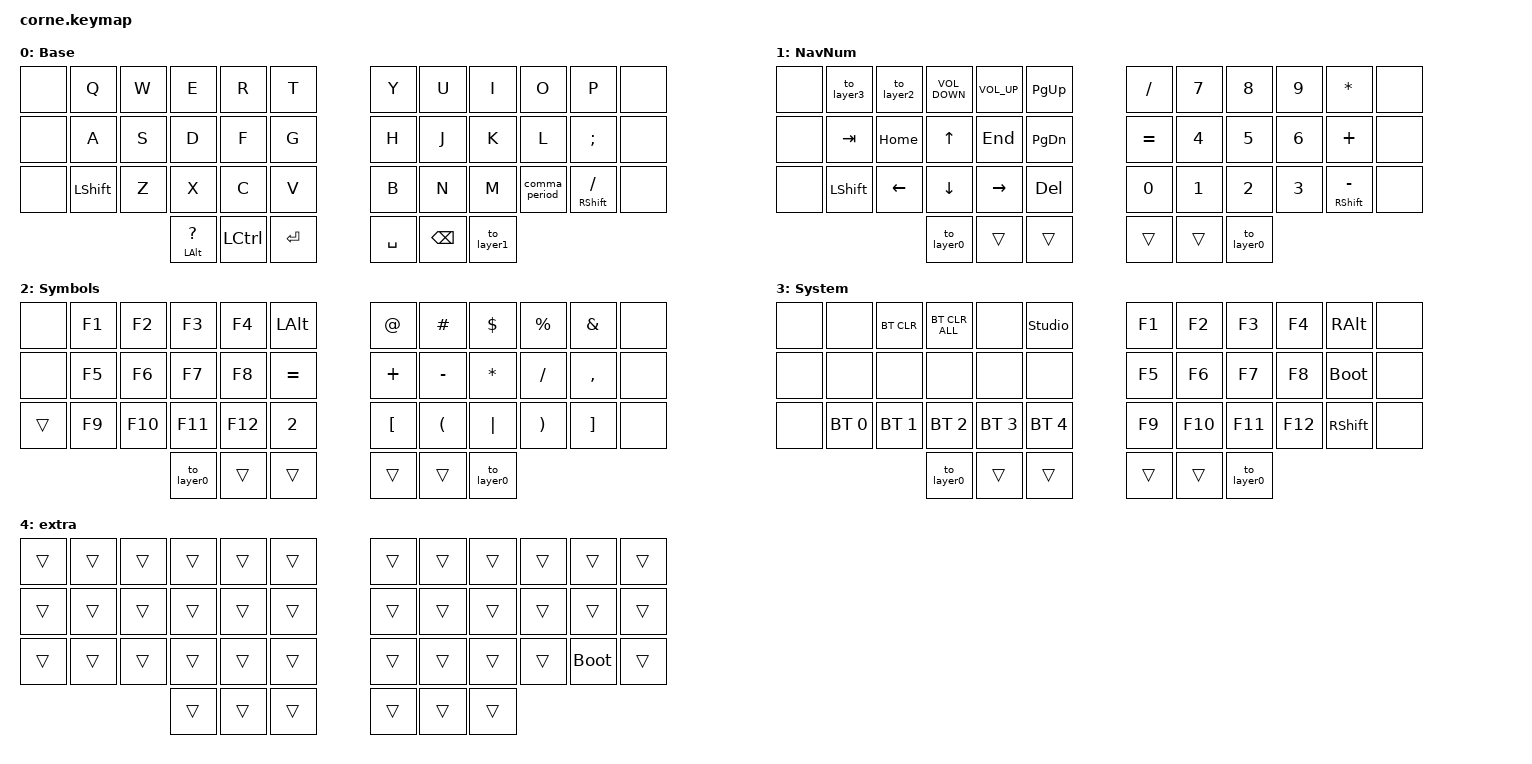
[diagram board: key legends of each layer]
#include <behaviors.dtsi>
#include <dt-bindings/zmk/bt.h>
#include <dt-bindings/zmk/keys.h>

#define DEF 0
#define NAV 1
#define SYM 2
#define ADJ 3
#define EXTRA 4

/ {
    macros {
        browsertab: browsertab {
            compatible = "zmk,behavior-macro";
            #binding-cells = <0>;
            bindings =
                <&macro_press>,
                <&kp LCTRL>,
                <&macro_tap>,
                <&kp TAB>,
                <&macro_release>,
                <&kp LCTRL>;
        };

        // Layer switches for the Windows overlay (overlay/): each one moves to
        // its layer and taps F13+N so the overlay can follow over USB or
        // Bluetooth. The overlay swallows F13-F16 so apps never see them.
        to_layer0: to_layer0 {
            compatible = "zmk,behavior-macro";
            #binding-cells = <0>;
            wait-ms = <0>;
            tap-ms = <10>;
            bindings = <&macro_tap &to 0 &kp F13>;
        };

        to_layer1: to_layer1 {
            compatible = "zmk,behavior-macro";
            #binding-cells = <0>;
            wait-ms = <0>;
            tap-ms = <10>;
            bindings = <&macro_tap &to 1 &kp F14>;
        };

        to_layer2: to_layer2 {
            compatible = "zmk,behavior-macro";
            #binding-cells = <0>;
            wait-ms = <0>;
            tap-ms = <10>;
            bindings = <&macro_tap &to 2 &kp F15>;
        };

        to_layer3: to_layer3 {
            compatible = "zmk,behavior-macro";
            #binding-cells = <0>;
            wait-ms = <0>;
            tap-ms = <10>;
            bindings = <&macro_tap &to 3 &kp F16>;
        };
    };

    combos {
        compatible = "zmk,combos";

        escape {
            bindings = <&kp ESCAPE>;
            key-positions = <13 29>;
        };

        CtrlAltDel {
            bindings = <&kp LA(LC(DELETE))>;
            key-positions = <3 2 16>;
        };

        RCtrl {
            bindings = <&sk RCTRL>;
            key-positions = <8 9>;
            layers = <0>;
        };

        RCommand {
            bindings = <&sk RIGHT_GUI>;
            key-positions = <19 22>;
        };

        Aposthrophe {
            bindings = <&kp APOSTROPHE>;
            key-positions = <21 22>;
        };

        backspace {
            bindings = <&kp BACKSPACE>;
            key-positions = <10 9>;
        };

        Tab {
            bindings = <&kp TAB>;
            key-positions = <16 14>;
        };

        del {
            bindings = <&kp DELETE>;
            key-positions = <10 8>;
        };

        dash {
            bindings = <&kp MINUS>;
            key-positions = <19 20>;
        };
    };

    //

    behaviors {
        comma_period: comma_period {
            compatible = "zmk,behavior-tap-dance";
            label = "COMMA_PERIOD";
            #binding-cells = <0>;
            bindings = <&kp COMMA>, <&kp DOT>;
        };
    };

    keymap {
        compatible = "zmk,keymap";

        DEF {
            display-name = "Base";
            bindings = <
&none  &kp Q           &kp W  &kp E                  &kp R      &kp T        &kp Y      &kp U      &kp I  &kp O          &kp P                  &none
&none  &kp A           &kp S  &kp D                  &kp F      &kp G        &kp H      &kp J      &kp K  &kp L          &kp SEMI               &none
&none  &kp LEFT_SHIFT  &kp Z  &kp X                  &kp C      &kp V        &kp B      &kp N      &kp M  &comma_period  &mt RIGHT_SHIFT SLASH  &none
                              &mt LEFT_ALT QUESTION  &kp LCTRL  &kp ENTER    &kp SPACE  &kp BACKSPACE  &to_layer1
            >;
        };

        NAV {
            display-name = "NavNum";
            bindings = <
&none  &to_layer3      &to_layer2  &kp C_VOLUME_DOWN  &kp C_VOL_UP  &kp PG_UP        &kp SLASH  &kp N7  &kp N8  &kp N9  &kp ASTRK              &none
&none  &kp TAB         &kp HOME  &kp UP_ARROW       &kp END       &kp PAGE_DOWN    &kp EQUAL  &kp N4  &kp N5  &kp N6  &kp PLUS               &none
&none  &kp LEFT_SHIFT  &kp LEFT  &kp DOWN_ARROW     &kp RIGHT     &kp DELETE       &kp N0     &kp N1  &kp N2  &kp N3  &mt RIGHT_SHIFT MINUS  &none
                                 &to_layer0              &trans        &trans           &trans     &trans  &to_layer0
            >;
        };

        SYM {
            display-name = "Symbols";
            bindings = <
&none   &kp F1  &kp F2   &kp F3   &kp F4   &kp LEFT_ALT    &kp AT            &kp HASH              &kp DOLLAR    &kp PERCENT            &kp AMPERSAND      &none
&none   &kp F5  &kp F6   &kp F7   &kp F8   &kp EQUAL       &kp PLUS          &kp MINUS             &kp ASTERISK  &kp SLASH              &kp COMMA          &none
&trans  &kp F9  &kp F10  &kp F11  &kp F12  &kp N2          &kp LEFT_BRACKET  &kp LEFT_PARENTHESIS  &kp PIPE      &kp RIGHT_PARENTHESIS  &kp RIGHT_BRACKET  &none
                         &to_layer0    &trans   &trans          &trans            &trans                &to_layer0
            >;
        };

        ADJ {
            display-name = "System";
            bindings = <
&none  &none         &bt BT_CLR    &bt BT_CLR_ALL  &none         &studio_unlock    &kp F1  &kp F2   &kp F3   &kp F4   &kp RIGHT_ALT  &none
&none  &none         &none         &none           &none         &none             &kp F5  &kp F6   &kp F7   &kp F8   &bootloader    &none
&none  &bt BT_SEL 0  &bt BT_SEL 1  &bt BT_SEL 2    &bt BT_SEL 3  &bt BT_SEL 4      &kp F9  &kp F10  &kp F11  &kp F12  &kp RSHIFT     &none
                                   &to_layer0           &trans        &trans            &trans  &trans   &to_layer0
            >;
        };

        EXTRA {
            display-name = "extra";
            bindings = <
&trans  &trans  &trans  &trans  &trans  &trans    &trans  &trans  &trans  &trans  &trans       &trans
&trans  &trans  &trans  &trans  &trans  &trans    &trans  &trans  &trans  &trans  &trans       &trans
&trans  &trans  &trans  &trans  &trans  &trans    &trans  &trans  &trans  &trans  &bootloader  &trans
                        &trans  &trans  &trans    &trans  &trans  &trans
            >;
        };
    };
};
